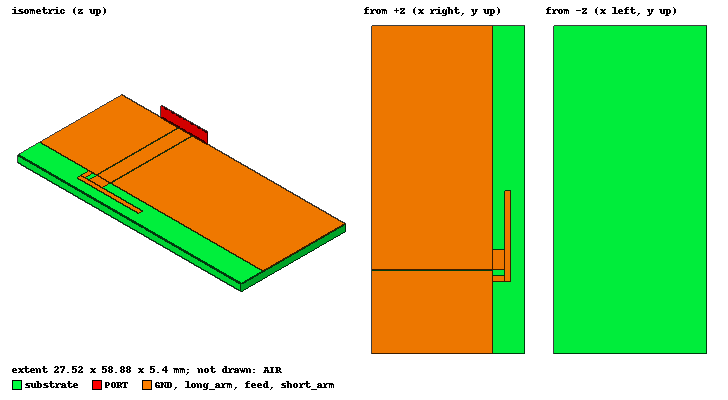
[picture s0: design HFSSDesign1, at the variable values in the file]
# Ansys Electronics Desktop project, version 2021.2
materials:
  vacuum: permittivity=1
  pec: conductivity=1e+30
  custom_PELLON: permittivity=2 conductivity=0.008

design HFSSDesign1 (HFSS, DrivenModal, model units mm)
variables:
  lambda = 3e8/2.45e9/sqrt(2)
  l_width = 1mm
  L_length = lambda/20
  trace_width = lambda/80
  trace_depth = 0mm
  cpw_w = 3.5mm
  cpw_gap = 0.16mm
  substrate_width = 1.8mm
  tune_length = 2mm
  tune_feed = lambda/22.5
  feed_w = 2mm
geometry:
  short_arm [pec] = box(corner=(0mm, 0mm, 0mm), size=(lambda/40, trace_width, trace_depth))
  long_arm [pec] = box(corner=(lambda/40, 0mm, 0mm), size=(trace_width, lambda/25+lambda/8+tune_length, trace_depth))
  feed [pec] = box(corner=(lambda/40, tune_feed-cpw_w/2, 0mm), size=(-lambda/40, cpw_w, trace_depth))
  GND [pec] = box(corner=(0, -0.15*lambda, 0), size=(-lambda/4, 0.68*lambda, trace_depth))
  CPW_GAP_left = box(corner=(0, tune_feed+cpw_w/2, 0mm), size=(-lambda/4, cpw_gap, trace_depth))
  CPW_GAP_right = box(corner=(0, tune_feed-cpw_w/2, 0mm), size=(-lambda/4, -cpw_gap, trace_depth))
  GND.subtract(CPW_GAP_left, CPW_GAP_right)
  substrate [custom_PELLON] = box(corner=(lambda/15, -0.15*lambda, -trace_depth), size=(-lambda/15-lambda/4, 0.68*lambda, -substrate_width))
  PORT [pec] = box(corner=(-lambda/4, lambda/25-cpw_w/2-lambda/20, 0mm -substrate_width*1.5), size=(-0.1mm, cpw_w+lambda/10, 3*substrate_width))
  AIR [vacuum] = box(corner=(-lambda, -lambda, -lambda), size=(2*lambda, 2*lambda, 2*lambda))
  feed_1 = feed.copy()
  GND_1 = GND.copy()
  long_arm_1 = long_arm.copy()
  PORT_1 = PORT.copy()
  short_arm_1 = short_arm.copy()
  substrate_1 = substrate.copy()
  AIR.subtract(feed_1, GND_1, long_arm_1, PORT_1, short_arm_1, substrate_1)
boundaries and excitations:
  PerfE1: Perfect E Objects=[feed, long_arm, short_arm, GND]
  Rad1: Radiation Faces=AIR.face(+z, -z, -y, -x, +y, +x)
  1: Wave Port Faces=PORT.face(+x) NumModes=1 Modes{Mode1{CharImp=Zpi}}
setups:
  Setup1: HfssDriven Frequency=2.45GHz MaxDeltaS=0.02 MaximumPasses=6 MinimumPasses=1 MinimumConvergedPasses=1 PercentRefinement=30 BasisOrder=1 PortAccuracy=2
    sweep Sweep: 2GHz to 3GHz, 20 points; Type=Interpolating InterpTolerance=0.5 InterpMaxSolns=250 InterpUsePortImped=false PassivityErrorTolerance=0.0001
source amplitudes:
  1:1: 1W 0deg
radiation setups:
  Infinite Sphere1: Infinite Sphere Theta=0deg..180deg step 2deg Phi=-180deg..180deg step 2deg
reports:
  S Parameter Plot 1: dB(S(1,1)) vs Freq on Setup1 : Sweep; markers MY1 at y=-10.2147
  Port Zo Plot 1: re(Zo(1:1)) vs Freq on Setup1 : Sweep
  Z Parameter Plot 1: re(Z(1,1)) vs Freq on Setup1 : Sweep; markers MX1 at x=2.4529884e+09
  Gain Plot 1: GainTotal vs Phi, Theta on Setup1 : LastAdaptive, Infinite Sphere1 [Freq=2.45GHz cpw_gap=0.14mm]
